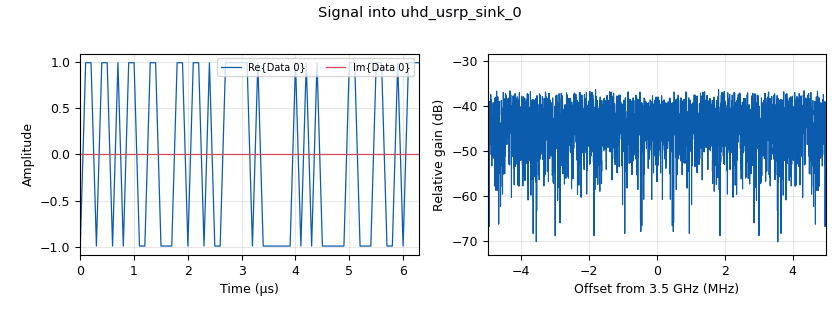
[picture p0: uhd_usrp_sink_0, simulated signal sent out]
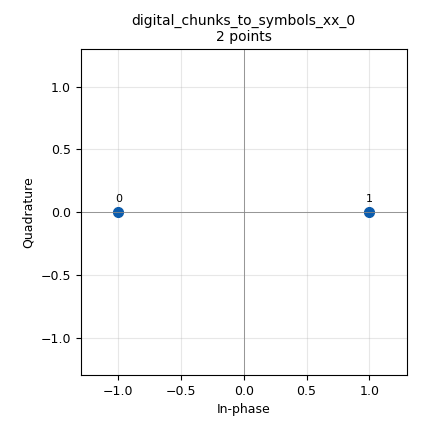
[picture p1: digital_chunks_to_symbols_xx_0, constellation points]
options:
  parameters:
    generate_options: no_gui
    id: calibTX
    output_language: python
    title: Not titled yet
  states: {}

blocks:
- name: gaintx
  id: variable_qtgui_range
  parameters:
    orient: Qt.Horizontal
    start: '0'
    step: '5'
    stop: '100'
    value: '50'
  states: {state: disabled}
- name: args
  id: parameter
  parameters:
    type: str
    value: ''
  states: {}
- name: blocks_multiply_const_vxx_0
  id: blocks_multiply_const_vxx
  parameters:
    const: '0.99'
    type: complex
  states: {}
- name: digital_chunks_to_symbols_xx_0
  id: digital_chunks_to_symbols_xx
  parameters:
    dimension: '1'
    in_type: byte
    out_type: complex
    symbol_table: (-1,1)
  states: {}
- name: digital_glfsr_source_x_0
  id: digital_glfsr_source_x
  parameters:
    degree: '12'
    mask: '0'
    repeat: 'True'
    seed: '1'
    type: byte
  states: {}
- name: freq
  id: parameter
  parameters:
    type: eng_float
    value: 3.5e9
  states: {}
- name: gaintx
  id: parameter
  parameters:
    type: eng_float
    value: '60'
  states: {}
- name: samp_rate
  id: parameter
  parameters:
    type: eng_float
    value: 10e6
  states: {}
- name: uhd_usrp_sink_0
  id: uhd_usrp_sink
  parameters:
    ant0: TX/RX
    center_freq0: freq
    dev_args: args
    gain0: gaintx
    len_tag_name: ''
    norm_gain0: 'False'
    samp_rate: samp_rate
    sync: sync
    type: fc32
  states: {}

connections:
- [blocks_multiply_const_vxx_0, '0', uhd_usrp_sink_0, '0']
- [digital_chunks_to_symbols_xx_0, '0', blocks_multiply_const_vxx_0, '0']
- [digital_glfsr_source_x_0, '0', digital_chunks_to_symbols_xx_0, '0']

metadata:
  file_format: 1
